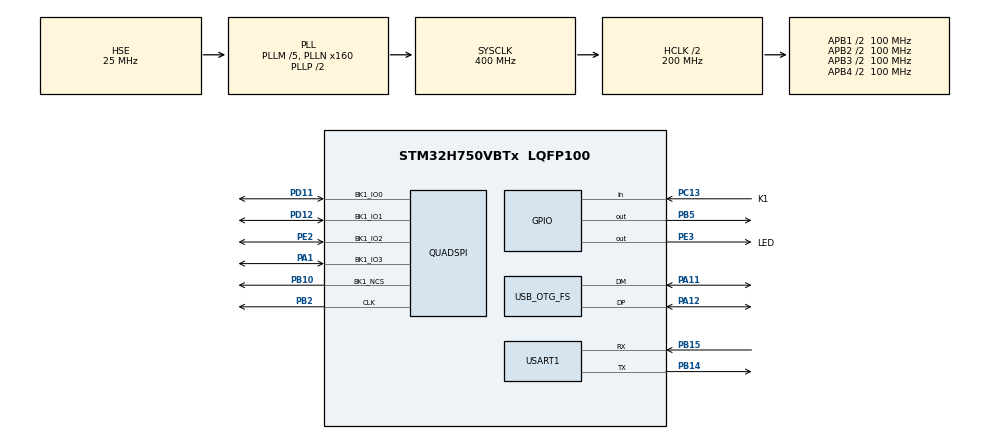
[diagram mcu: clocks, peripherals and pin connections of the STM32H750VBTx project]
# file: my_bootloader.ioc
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CORTEX_M7.default_mode_Activation=1
Mcu.Family=STM32H7
Mcu.Name=STM32H750VBTx
Mcu.Package=LQFP100
NVIC.OTG_FS_IRQn=true\:0\:0\:false\:false\:true\:false\:true\:true
NVIC.PriorityGroup=NVIC_PRIORITYGROUP_4
NVIC.USART1_IRQn=true\:0\:0\:false\:false\:true\:true\:true\:true
PA1.Mode=Single Bank 1
PA1.Signal=QUADSPI_BK1_IO3
PA11.Mode=Device_Only
PA11.Signal=USB_OTG_FS_DM
PA12.Mode=Device_Only
PA12.Signal=USB_OTG_FS_DP
PA13\ (JTMS/SWDIO).Mode=Serial_Wire
PA13\ (JTMS/SWDIO).Signal=DEBUG_JTMS-SWDIO
PA14\ (JTCK/SWCLK).Mode=Serial_Wire
PA14\ (JTCK/SWCLK).Signal=DEBUG_JTCK-SWCLK
PB10.Mode=Single Bank 1
PB10.Signal=QUADSPI_BK1_NCS
PB14.Mode=Asynchronous
PB14.Signal=USART1_TX
PB15.Mode=Asynchronous
PB15.Signal=USART1_RX
PB2.Mode=Single Bank 1
PB2.Signal=QUADSPI_CLK
PB5.Signal=GPIO_Output
PC13.GPIO_Label=K1
PC13.GPIO_PuPd=GPIO_PULLDOWN
PC13.Signal=GPIO_Input
PC14-OSC32_IN\ (OSC32_IN).Mode=LSE-External-Oscillator
PC14-OSC32_IN\ (OSC32_IN).Signal=RCC_OSC32_IN
PC15-OSC32_OUT\ (OSC32_OUT).Mode=LSE-External-Oscillator
PC15-OSC32_OUT\ (OSC32_OUT).Signal=RCC_OSC32_OUT
PD11.Mode=Single Bank 1
PD11.Signal=QUADSPI_BK1_IO0
PD12.Mode=Single Bank 1
PD12.Signal=QUADSPI_BK1_IO1
PE2.Mode=Single Bank 1
PE2.Signal=QUADSPI_BK1_IO2
PE3.GPIO_Label=LED
PE3.PinState=GPIO_PIN_RESET
PE3.Signal=GPIO_Output
PH0-OSC_IN\ (PH0).Mode=HSE-External-Oscillator
PH0-OSC_IN\ (PH0).Signal=RCC_OSC_IN
PH1-OSC_OUT\ (PH1).Mode=HSE-External-Oscillator
PH1-OSC_OUT\ (PH1).Signal=RCC_OSC_OUT
ProjectManager.HeapSize=0x200
ProjectManager.StackSize=0x400
ProjectManager.TargetToolchain=CMake
QUADSPI.ChipSelectHighTime=QSPI_CS_HIGH_TIME_8_CYCLE
QUADSPI.ClockMode=QSPI_CLOCK_MODE_3
QUADSPI.ClockPrescaler=4-1
QUADSPI.FifoThreshold=32
QUADSPI.FlashSize=23-1
QUADSPI.SampleShifting=QSPI_SAMPLE_SHIFTING_HALFCYCLE
RCC.ADCFreq_Value=360000000
RCC.APB1Freq_Value=100000000
RCC.APB2Freq_Value=100000000
RCC.APB3Freq_Value=100000000
RCC.APB4Freq_Value=100000000
RCC.CortexFreq_Value=400000000
RCC.D1PPRE=RCC_APB3_DIV2
RCC.D2PPRE1=RCC_APB1_DIV2
RCC.D2PPRE2=RCC_APB2_DIV2
RCC.D3PPRE=RCC_APB4_DIV2
RCC.DIVM1=5
RCC.DIVM2=5
RCC.DIVM3=5
RCC.DIVN1=160
RCC.DIVN2=144
RCC.DIVN3=96
RCC.DIVQ3=10
RCC.HCLKFreq_Value=200000000
RCC.HPRE=RCC_HCLK_DIV2
RCC.PLLSourceVirtual=RCC_PLLSOURCE_HSE
RCC.SYSCLKFreq_VALUE=400000000
RCC.SYSCLKSource=RCC_SYSCLKSOURCE_PLLCLK
RCC.USBCLockSelection=RCC_USBCLKSOURCE_PLL3
RCC.USBFreq_Value=48000000
USART1.VirtualMode-Asynchronous=VM_ASYNC
USB_DEVICE.CLASS_NAME_FS=CDC
USB_DEVICE.VirtualMode-CDC_FS=Cdc
USB_DEVICE.VirtualModeFS=Cdc_FS
USB_OTG_FS.VirtualMode=Device_Only
VP_CRC_VS_CRC.Mode=CRC_Activate
VP_MEMORYMAP_VS_MEMORYMAP.Mode=CurAppReg
VP_USB_DEVICE_VS_USB_DEVICE_CDC_FS.Mode=CDC_FS
board=custom

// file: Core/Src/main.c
/* USER CODE BEGIN Header */
/**
 ******************************************************************************
 * @file           : main.c
 * @brief          : Main program body
 ******************************************************************************
 * @attention
 *
 * Copyright (c) 2025 STMicroelectronics.
 * All rights reserved.
 *
 * This software is licensed under terms that can be found in the LICENSE file
 * in the root directory of this software component.
 * If no LICENSE file comes with this software, it is provided AS-IS.
 *
 ******************************************************************************
 */
/* USER CODE END Header */
#include "main.h"
#include "crc.h"
#include "gpio.h"
// #include "quadspi.h"
#include "usart.h"
// #include "usb_device.h"
// #include "usbd_cdc_if.h"
/* USER CODE BEGIN Includes */
#include "boot.h"
#include "boot_cfg.h"
#include "key_driver.h"
#include "led_driver.h"
#include "uart_driver.h"
#include <stdio.h>
/* USER CODE END Includes */

/* USER CODE BEGIN PD */
#define BOOT
// #define APP

/* USER CODE END PD */

/* USER CODE BEGIN PV */
LED_Device_t LED;
KEY_Device_t K1;
UART_Device_t UART1;
/* USER CODE END PV */

void SystemClock_Config(void);
static void MPU_Config(void);
// bool CDC_transmit(uint8_t *data, uint16_t length);
bool UART_transmit(uint8_t *data, uint16_t length);

#if defined(BOOT)
int main(void) {

    /* MPU
     * Configuration--------------------------------------------------------*/
    MPU_Config();

    /* MCU
     * Configuration--------------------------------------------------------*/

    /* Reset of all peripherals, Initializes the Flash interface and the
     * Systick. */
    HAL_Init();

    /* Configure the system clock */
    SystemClock_Config();

    /* Initialize all configured peripherals */
    MX_GPIO_Init();
    // MX_QUADSPI_Init();
    MX_CRC_Init();
    MX_USART1_UART_Init();
    // MX_USB_DEVICE_Init();

    /* USER CODE BEGIN 2 */
    LED_InitDev(&LED, LED_GPIO_Port, LED_Pin, 1);
    KEY_InitDev(&K1, K1_GPIO_Port, K1_Pin, 1);
    UART_InitDev(&UART1, &huart1);
    // Boot_Init(CDC_transmit);
    Boot_Init(UART_transmit);

    /* USER CODE END 2 */

    /* Infinite loop */
    while (1) {

        /* USER CODE BEGIN 3 */
        Boot_ProcessStateMachine();
    }
    /* USER CODE END 3 */
}
#endif

#if defined(APP)
// start:0x0801 0000 size:0x10000
int main(void) {

    /* USER CODE BEGIN 1 */
    SCB->VTOR = BOOT_APP_ADDRESS;
    /* USER CODE END 1 */

    /* MPU
     * Configuration--------------------------------------------------------*/
    // MPU_Config();

    /* MCU
     * Configuration--------------------------------------------------------*/

    /* Reset of all peripherals, Initializes the Flash interface and the
     * Systick. */
    HAL_Init();

    /* Configure the system clock */
    SystemClock_Config();

    /* Initialize all configured peripherals */
    MX_GPIO_Init();
    // MX_QUADSPI_Init();
    /* USER CODE BEGIN 2 */
    LED_InitDev(&LED, LED_GPIO_Port, LED_Pin, 1);
    KEY_InitDev(&K1, K1_GPIO_Port, K1_Pin, 1);
    /* USER CODE END 2 */

    /* Infinite loop */
    while (1) {
        LED_Blink(&LED, 100);
    }
}
#endif
void SystemClock_Config(void) {
    RCC_OscInitTypeDef RCC_OscInitStruct = {0};
    RCC_ClkInitTypeDef RCC_ClkInitStruct = {0};

    /** Supply configuration update enable
     */
    HAL_PWREx_ConfigSupply(PWR_LDO_SUPPLY);

    /** Configure the main internal regulator output voltage
     */
    __HAL_PWR_VOLTAGESCALING_CONFIG(PWR_REGULATOR_VOLTAGE_SCALE1);

    while (!__HAL_PWR_GET_FLAG(PWR_FLAG_VOSRDY)) {
    }

    /** Initializes the RCC Oscillators according to the specified parameters
     * in the RCC_OscInitTypeDef structure.
     */
    RCC_OscInitStruct.OscillatorType = RCC_OSCILLATORTYPE_HSE;
    RCC_OscInitStruct.HSEState = RCC_HSE_ON;
    RCC_OscInitStruct.PLL.PLLState = RCC_PLL_ON;
    RCC_OscInitStruct.PLL.PLLSource = RCC_PLLSOURCE_HSE;
    RCC_OscInitStruct.PLL.PLLM = 5;
    RCC_OscInitStruct.PLL.PLLN = 160;
    RCC_OscInitStruct.PLL.PLLP = 2;
    RCC_OscInitStruct.PLL.PLLQ = 2;
    RCC_OscInitStruct.PLL.PLLR = 2;
    RCC_OscInitStruct.PLL.PLLRGE = RCC_PLL1VCIRANGE_2;
    RCC_OscInitStruct.PLL.PLLVCOSEL = RCC_PLL1VCOWIDE;
    RCC_OscInitStruct.PLL.PLLFRACN = 0;
    if (HAL_RCC_OscConfig(&RCC_OscInitStruct) != HAL_OK) {
        Error_Handler();
    }

    /** Initializes the CPU, AHB and APB buses clocks
     */
    RCC_ClkInitStruct.ClockType = RCC_CLOCKTYPE_HCLK | RCC_CLOCKTYPE_SYSCLK |
                                  RCC_CLOCKTYPE_PCLK1 | RCC_CLOCKTYPE_PCLK2 |
                                  RCC_CLOCKTYPE_D3PCLK1 | RCC_CLOCKTYPE_D1PCLK1;
    RCC_ClkInitStruct.SYSCLKSource = RCC_SYSCLKSOURCE_PLLCLK;
    RCC_ClkInitStruct.SYSCLKDivider = RCC_SYSCLK_DIV1;
    RCC_ClkInitStruct.AHBCLKDivider = RCC_HCLK_DIV2;
    RCC_ClkInitStruct.APB3CLKDivider = RCC_APB3_DIV2;
    RCC_ClkInitStruct.APB1CLKDivider = RCC_APB1_DIV2;
    RCC_ClkInitStruct.APB2CLKDivider = RCC_APB2_DIV2;
    RCC_ClkInitStruct.APB4CLKDivider = RCC_APB4_DIV2;

    if (HAL_RCC_ClockConfig(&RCC_ClkInitStruct, FLASH_LATENCY_2) != HAL_OK) {
        Error_Handler();
    }
}

/* USER CODE BEGIN 4 */
// bool CDC_transmit(uint8_t *data, uint16_t length) {
//     uint8_t ret = CDC_Transmit_FS(data, length);
//     if (ret == USBD_OK) {
//         return true;
//     } else {
//         return false;
//     }
// }
bool UART_transmit(uint8_t *data, uint16_t length) {
    UART_Transmit(&UART1, data, length);
    return true;
}

// 接收回调
void HAL_UART_RxCpltCallback(UART_HandleTypeDef *huart) {
    Boot_ReceiveCommand(UART1.rx_byte);
    // for (uint32_t i = 0; i < *Len; i++) {
    //     Boot_ReceiveCommand(Buf[i]);
    // }
    HAL_UART_Receive_IT(UART1.huart, &UART1.rx_byte, 1);
}

/* USER CODE END 4 */

/* MPU Configuration */

void MPU_Config(void) {
    MPU_Region_InitTypeDef MPU_InitStruct = {0};

    /* Disables the MPU */
    HAL_MPU_Disable();

    /** Initializes and configures the Region and the memory to be protected
     */
    MPU_InitStruct.Enable = MPU_REGION_ENABLE;
    MPU_InitStruct.Number = MPU_REGION_NUMBER0;
    MPU_InitStruct.BaseAddress = 0x0;
    MPU_InitStruct.Size = MPU_REGION_SIZE_4GB;
    MPU_InitStruct.SubRegionDisable = 0x87;
    MPU_InitStruct.TypeExtField = MPU_TEX_LEVEL0;
    MPU_InitStruct.AccessPermission = MPU_REGION_NO_ACCESS;
    MPU_InitStruct.DisableExec = MPU_INSTRUCTION_ACCESS_DISABLE;
    MPU_InitStruct.IsShareable = MPU_ACCESS_SHAREABLE;
    MPU_InitStruct.IsCacheable = MPU_ACCESS_NOT_CACHEABLE;
    MPU_InitStruct.IsBufferable = MPU_ACCESS_NOT_BUFFERABLE;

    HAL_MPU_ConfigRegion(&MPU_InitStruct);
    /* Enables the MPU */
    HAL_MPU_Enable(MPU_PRIVILEGED_DEFAULT);
}

void Error_Handler(void) {
    /* USER CODE BEGIN Error_Handler_Debug */
    /* User can add his own implementation to report the HAL error return state
     */
    __disable_irq();
    while (1) {
    }
    /* USER CODE END Error_Handler_Debug */
}
#ifdef USE_FULL_ASSERT
/**
 * @brief  Reports the name of the source file and the source line number
 *         where the assert_param error has occurred.
 * @param  file: pointer to the source file name
 * @param  line: assert_param error line source number
 * @retval None
 */
void assert_failed(uint8_t *file, uint32_t line) {
    /* USER CODE BEGIN 6 */
    /* User can add his own implementation to report the file name and line
       number, ex: printf("Wrong parameters value: file %s on line %d\r\n",
       file, line) */
    /* USER CODE END 6 */
}
#endif /* USE_FULL_ASSERT */
